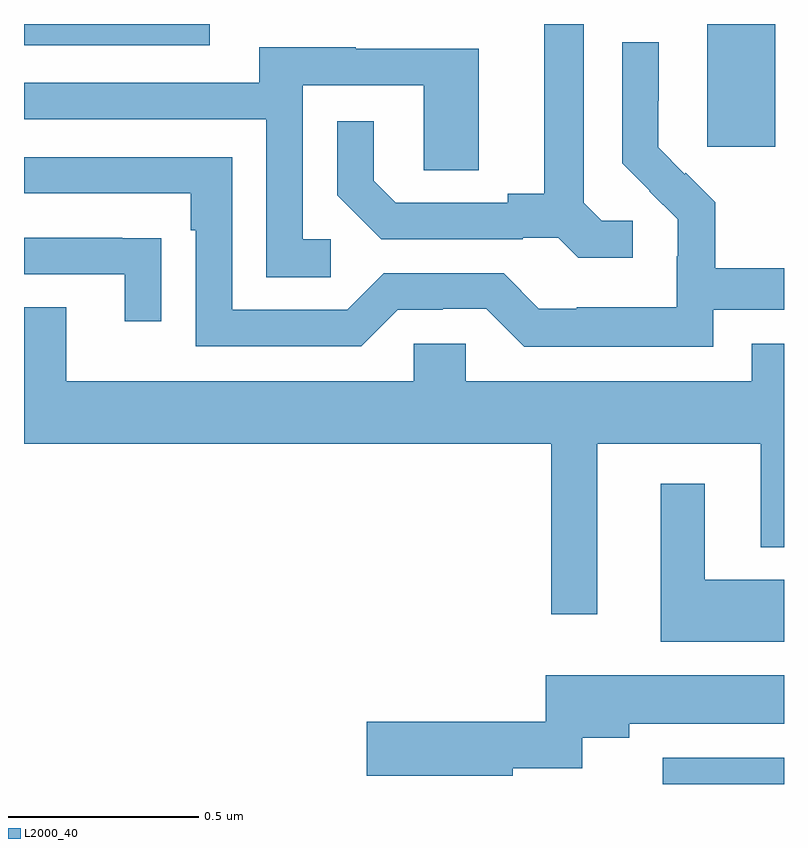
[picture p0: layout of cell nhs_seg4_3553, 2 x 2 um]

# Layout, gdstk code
import gdstk
lib = gdstk.Library(unit=1e-6, precision=1e-09)
def R(c, l, rs):  # rectangles x0, y0, x1, y1
    for r in rs: c.add(gdstk.rectangle(r[:2], r[2:], *l))
def P(c, l, *ps):  # polygons
    for p in ps: c.add(gdstk.Polygon(p, *l))
L2000_40 = (2000, 40)

nhs_seg4_3553 = lib.new_cell('nhs_seg4_3553')
R(nhs_seg4_3553, L2000_40, [(155.681,819.9,156,819.969), (155.798,821.577,155.977,821.9), (154,821.844,154.489,821.9)])
P(nhs_seg4_3553, L2000_40, [(155.602,821.382),(155.52,821.382),(155.473,821.429),(155.473,821.9),(155.369,821.9),(155.369,821.453),(155.273,821.453),(155.273,821.43),(154.978,821.43),(154.921,821.487),(154.921,821.644),(154.824,821.644),(154.824,821.45),(154.94,821.334),(155.312,821.334),(155.312,821.337),(155.406,821.337),(155.458,821.285),(155.602,821.285)],
  [(155.814,821.148),(156,821.148),(156,821.257),(155.819,821.257),(155.819,821.431),(155.742,821.508),(155.739,821.505),(155.669,821.576),(155.669,821.698),(155.67,821.698),(155.67,821.852),(155.574,821.852),(155.574,821.534),(155.647,821.461),(155.646,821.46),(155.72,821.386),(155.72,821.289),(155.718,821.289),(155.718,821.155),(155.455,821.155),(155.455,821.151),(155.355,821.151),(155.262,821.244),(154.947,821.244),(154.851,821.148),(154.548,821.148),(154.548,821.55),(154,821.55),(154,821.454),(154.439,821.454),(154.439,821.357),(154.452,821.357),(154.452,821.052),(154.887,821.052),(154.983,821.148),(155.102,821.148),(155.102,821.151),(155.217,821.151),(155.317,821.051),(155.814,821.051)],
  [(154.807,821.334),(154.734,821.334),(154.734,821.739),(155.052,821.739),(155.052,821.515),(155.197,821.515),(155.197,821.835),(154.873,821.835),(154.873,821.839),(154.619,821.839),(154.619,821.745),(154,821.745),(154,821.649),(154.638,821.649),(154.638,821.233),(154.807,821.233)],
  [(154.361,821.336),(154.259,821.336),(154.259,821.337),(154,821.337),(154,821.241),(154.265,821.241),(154.265,821.118),(154.361,821.118)],
  [(155.509,820.796),(155.939,820.796),(155.939,820.523),(156,820.523),(156,821.059),(155.915,821.059),(155.915,820.96),(155.163,820.96),(155.163,821.058),(155.025,821.058),(155.025,820.96),(154.111,820.96),(154.111,821.155),(154,821.155),(154,820.796),(155.388,820.796),(155.388,820.347),(155.509,820.347)],
  [(156,820.438),(155.791,820.438),(155.791,820.69),(155.675,820.69),(155.675,820.274),(156,820.274)],
  [(155.286,819.941),(155.469,819.941),(155.469,820.022),(155.593,820.022),(155.593,820.058),(156,820.058),(156,820.186),(155.373,820.186),(155.373,820.064),(154.902,820.064),(154.902,819.922),(155.286,819.922)])

lib.write_gds('nhs_seg4_3553.gds')
